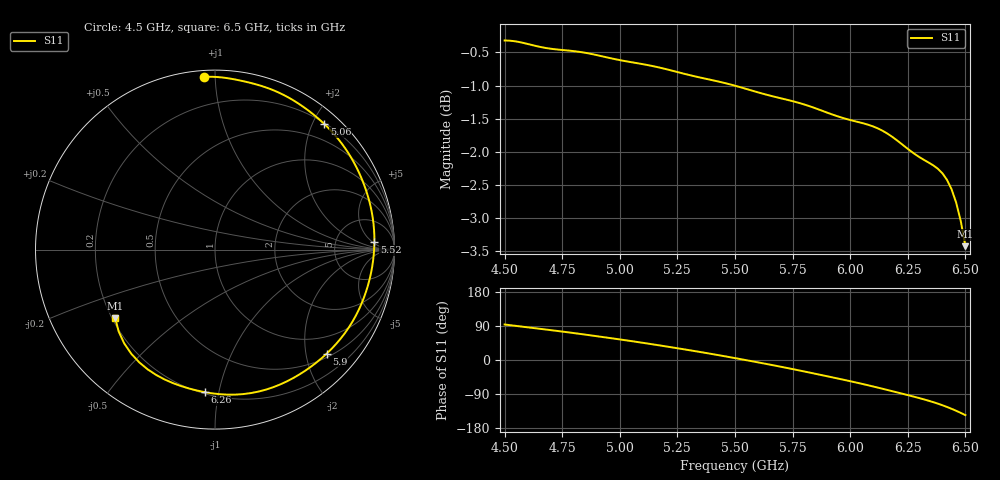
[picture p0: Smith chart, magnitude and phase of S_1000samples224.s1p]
! TOUCHSTONE file generated by CST MICROWAVE STUDIO
! Date and time: Thu Oct 27 10:39:34 2022
! Project name: L.cst
! Parameters = {Di=1.27; Epsilon_r=1.56; InnerDiameter=1.27; Length=2; Lf=10; Lg=60; OuterConductorThickness=0.2921; OuterDiameter=3.6; Wf=3; Wp=41.2; de=1.5; df=6.8; g=0.8; gx=4.05522; gy=3.46052; h=2.34; hf=1.524; px=9.77677; py=13.432; w=9.7; wx=5.72155; wy=9.97147}
! Header version: 2018
! Port assignment regex: !\s*Touchstone port\s*([0-9]+)\s*=\s*(CST MWS port|CST DS port)\s*([0-9]+|Zmin|Zmax)\s*\(\"(.*)\"\)(\s*mode\s*([0-9]+))?.*
! Touchstone port assignment:
! Touchstone port 1 = CST MWS port 1 ("")
# GHz S DB R 50
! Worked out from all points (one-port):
!   101 points, 4.5 GHz to 6.5 GHz, reference 50 ohm
!   lowest |S11| = -3.4 dB at 6.5 GHz (marker M1), VSWR 5.14, Z = 10.6 - j14.9 ohm
!   |S11| at or under -10 dB: nowhere
!   S11 on the Smith chart (normalised r, x): 4.5 GHz: 0.03, +0.94; 5.06 GHz: 0.22, +2.18; 5.52 GHz: 15, +6; 5.9 GHz: 0.58, -2.43; 6.26 GHz: 0.21, -0.91; 6.5 GHz: 0.21, -0.30
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4.5  -0.32 93.7
4.6  -0.37 86.2
4.76  -0.47 74.3
4.88  -0.53 64.5
5  -0.62 54.3
5.06  -0.65 49.0
5.16  -0.72 39.7
5.26  -0.80 30.0
5.38  -0.90 17.9
5.5  -1.00 5.0
5.52  -1.02 2.8
5.58  -1.08 -4.0
5.64  -1.14 -10.9
5.7  -1.19 -17.9
5.76  -1.24 -25.2
5.82  -1.31 -32.7
5.9  -1.41 -42.9
6  -1.52 -56.0
6.08  -1.59 -67.0
6.14  -1.68 -75.9
6.2  -1.82 -84.9
6.26  -1.98 -94.2
6.34  -2.16 -107.4
6.38  -2.25 -115.1
6.4  -2.32 -119.3
6.44  -2.56 -128.8
6.48  -3.04 -139.6
6.5  -3.42 -145.5
